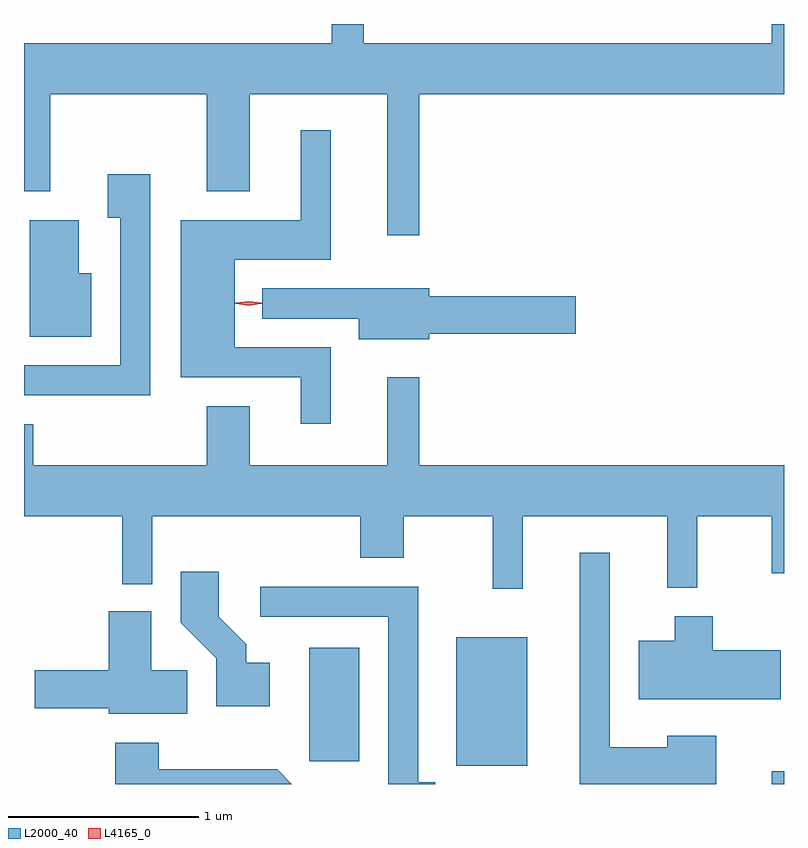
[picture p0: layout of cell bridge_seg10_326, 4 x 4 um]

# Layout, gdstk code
import gdstk
lib = gdstk.Library(unit=1e-6, precision=1e-09)
def R(c, l, rs):  # rectangles x0, y0, x1, y1
    for r in rs: c.add(gdstk.rectangle(r[:2], r[2:], *l))
def P(c, l, *ps):  # polygons
    for p in ps: c.add(gdstk.Polygon(p, *l))
L2000_40 = (2000, 40)
L4165_0 = (4165, 0)

bridge_seg10_326 = lib.new_cell('bridge_seg10_326')
R(bridge_seg10_326, L2000_40, [(1353.936,2168.006,1354,2168.074), (1352.276,2168.101,1352.649,2168.779), (1351.501,2168.126,1351.764,2168.724)])
P(bridge_seg10_326, L2000_40, [(1352.079,2171.636),(1354,2171.636),(1354,2172.006),(1353.936,2172.006),(1353.936,2171.904),(1351.789,2171.904),(1351.789,2172.006),(1351.621,2172.006),(1351.621,2171.904),(1350,2171.904),(1350,2171.126),(1350.139,2171.126),(1350.139,2171.636),(1350.961,2171.636),(1350.961,2171.126),(1351.189,2171.126),(1351.189,2171.636),(1351.911,2171.636),(1351.911,2170.893),(1352.079,2170.893)],
  [(1351.614,2170.304),(1351.109,2170.304),(1351.109,2170.766),(1351.614,2170.766),(1351.614,2171.448),(1351.456,2171.448),(1351.456,2170.974),(1350.826,2170.974),(1350.826,2170.146),(1351.456,2170.146),(1351.456,2169.903),(1351.614,2169.903)],
  [(1350.664,2171.214),(1350.441,2171.214),(1350.441,2170.986),(1350.506,2170.986),(1350.506,2170.209),(1350,2170.209),(1350,2170.051),(1350.664,2170.051)],
  [(1350.354,2170.694),(1350.289,2170.694),(1350.289,2170.974),(1350.031,2170.974),(1350.031,2170.361),(1350.354,2170.361)],
  [(1352.134,2170.376),(1352.904,2170.376),(1352.904,2170.574),(1352.134,2170.574),(1352.134,2170.614),(1351.253,2170.614),(1351.253,2170.456),(1351.761,2170.456),(1351.761,2170.346),(1352.134,2170.346)],
  [(1352.624,2169.416),(1353.386,2169.416),(1353.386,2169.038),(1353.544,2169.038),(1353.544,2169.416),(1353.936,2169.416),(1353.936,2169.116),(1354,2169.116),(1354,2169.684),(1352.079,2169.684),(1352.079,2170.148),(1351.911,2170.148),(1351.911,2169.684),(1351.189,2169.684),(1351.189,2169.994),(1350.961,2169.994),(1350.961,2169.684),(1350.049,2169.684),(1350.049,2169.899),(1350,2169.899),(1350,2169.416),(1350.516,2169.416),(1350.516,2169.058),(1350.674,2169.058),(1350.674,2169.416),(1351.771,2169.416),(1351.771,2169.196),(1351.999,2169.196),(1351.999,2169.416),(1352.466,2169.416),(1352.466,2169.033),(1352.624,2169.033)],
  [(1353.644,2168.259),(1353.386,2168.259),(1353.386,2168.199),(1353.084,2168.199),(1353.084,2169.223),(1352.926,2169.223),(1352.926,2168.006),(1353.644,2168.006)],
  [(1351.294,2168.644),(1351.169,2168.644),(1351.169,2168.742),(1351.024,2168.887),(1351.024,2169.124),(1350.826,2169.124),(1350.826,2168.854),(1351.011,2168.669),(1351.011,2168.416),(1351.294,2168.416)],
  [(1352.164,2168.014),(1352.074,2168.014),(1352.074,2169.044),(1351.243,2169.044),(1351.243,2168.886),(1351.916,2168.886),(1351.916,2168.006),(1352.164,2168.006)],
  [(1350.859,2168.604),(1350.669,2168.604),(1350.669,2168.914),(1350.446,2168.914),(1350.446,2168.604),(1350.056,2168.604),(1350.056,2168.406),(1350.446,2168.406),(1350.446,2168.376),(1350.859,2168.376)],
  [(1353.984,2168.709),(1353.624,2168.709),(1353.624,2168.889),(1353.426,2168.889),(1353.426,2168.759),(1353.236,2168.759),(1353.236,2168.451),(1353.984,2168.451)],
  [(1351.332,2168.084),(1350.709,2168.084),(1350.709,2168.224),(1350.481,2168.224),(1350.481,2168.006),(1351.41,2168.006)])
P(bridge_seg10_326, L4165_0, [(1351.182,2170.528),(1351.113,2170.537),(1351.113,2170.538),(1351.113,2170.538),(1351.182,2170.548),(1351.251,2170.538),(1351.251,2170.537),(1351.251,2170.537)],
  [(1351.183,2170.524),(1351.118,2170.533),(1351.118,2170.533),(1351.118,2170.534),(1351.183,2170.544),(1351.247,2170.534),(1351.248,2170.533),(1351.247,2170.533)])

lib.write_gds('bridge_seg10_326.gds')
